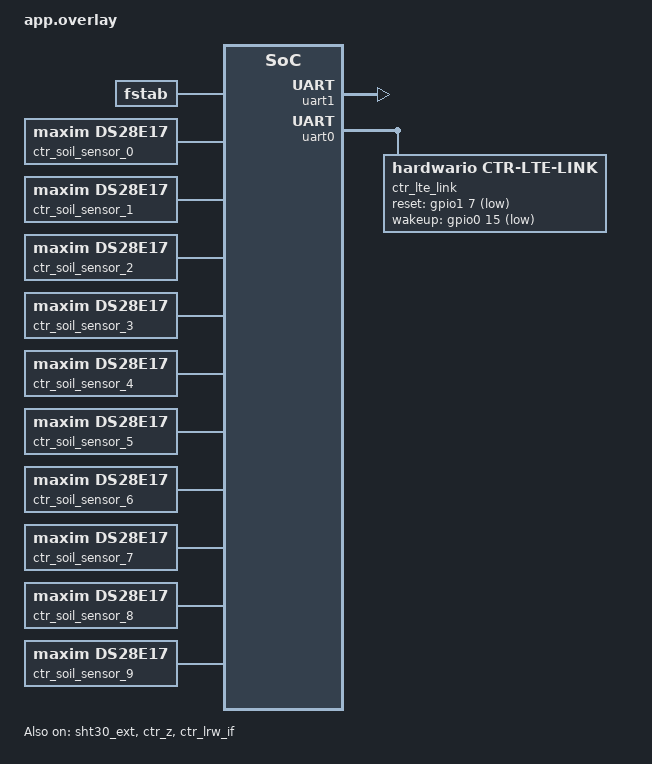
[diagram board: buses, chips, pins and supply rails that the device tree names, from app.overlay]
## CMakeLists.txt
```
#
# Copyright (c) 2024 HARDWARIO a.s.
#
# SPDX-License-Identifier: LicenseRef-HARDWARIO-5-Clause
#

cmake_minimum_required(VERSION 3.20.0)

set(ENV{FW_BUNDLE} "com.hardwario.chester.app.clime")
set(ENV{FW_NAME} "CHESTER Clime")

# Derive firmware version from git (see scripts/version.cmake); the fallback is
# used when git is unavailable at build time.
set(FW_VERSION_FALLBACK "v3.0.0")
include(${CMAKE_CURRENT_SOURCE_DIR}/../../scripts/version.cmake)

find_package(Zephyr REQUIRED HINTS $ENV{ZEPHYR_BASE})

project(chester-clime)

include(${ZEPHYR_CHESTER_MODULE_DIR}/scripts/app_codec.cmake)

target_sources(app PRIVATE src/app_cbor.c)
target_sources(app PRIVATE src/app_config.c)
target_sources(app PRIVATE src/app_data.c)
target_sources(app PRIVATE src/app_handler.c)
target_sources(app PRIVATE src/app_iaq.c)
target_sources(app PRIVATE src/app_init.c)
target_sources(app PRIVATE src/app_lrw.c)
target_sources(app PRIVATE src/app_send.c)
target_sources(app PRIVATE src/app_sensor.c)
target_sources(app PRIVATE src/app_shell.c)
target_sources(app PRIVATE src/app_tamper.c)
target_sources(app PRIVATE src/app_work.c)
target_sources(app PRIVATE src/main.c)

target_precompile_headers(app PRIVATE src/feature.h)

# ### Preserved code "cmake" (begin)
# ^^^ Preserved code "cmake" (end)
```

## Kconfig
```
#
# Copyright (c) 2024 HARDWARIO a.s.
#
# SPDX-License-Identifier: LicenseRef-HARDWARIO-5-Clause
#

menu "Application"

# CHESTER-APP-REPORT-JITTER
config APP_REPORT_JITTER
	bool "Add random time jitter to report transfers"
	default y
	select ENTROPY_GENERATOR
# HARDWARE-CHESTER-S2
config SHIELD_CTR_S2
	bool "Enable SHIELD_CTR_S2"
	default y

config CTR_HYGRO
	default y
# HARDWARE-CHESTER-Z
config SHIELD_CTR_Z
	bool "Enable SHIELD_CTR_Z"
	default y

config CTR_Z
	default y

config I2C
	default y
# SUBSYSTEM-DS18B20
config SHIELD_CTR_DS18B20
	bool "Enable SHIELD_CTR_DS18B20"
	default y

config CTR_DS18B20
	default y
# SUBSYSTEM-LRW
config SHIELD_CTR_LRW
	bool "Enable SHIELD_CTR_LRW"
	default y

config CTR_LRW
	default y
# SUBSYSTEM-LTE-V2
config SHIELD_CTR_LTE_V2
	bool "Enable SHIELD_CTR_LTE_V2"
	default y

config CTR_LTE_V2
	default y
# SUBSYSTEM-SOIL-SENSOR
config SHIELD_CTR_SOIL_SENSOR
	bool "Enable SHIELD_CTR_SOIL_SENSOR"
	default y

config CTR_SOIL_SENSOR
	default y

# ### Preserved code "k_config" (begin)
# ^^^ Preserved code "k_config" (end)

rsource "Kconfig.variant"

endmenu

menu "Zephyr Kernel"
source "Kconfig.zephyr"
endmenu
```

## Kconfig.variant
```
#
# Copyright (c) 2024 HARDWARIO a.s.
#
# SPDX-License-Identifier: LicenseRef-HARDWARIO-5-Clause
#

config VARIANT_CHESTER_CLIME
    bool "Enable VARIANT_CHESTER_CLIME"
    default y
        
```

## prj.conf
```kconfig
#
# Copyright (c) 2024 HARDWARIO a.s.
#
# SPDX-License-Identifier: LicenseRef-HARDWARIO-5-Clause
#

# Configurations
# SUBSYSTEM-ACCEL
CONFIG_CTR_ACCEL=y
# SUBSYSTEM-BATT
CONFIG_CTR_BATT=y
# SUBSYSTEM-BLE
CONFIG_CTR_BLE=y
# SUBSYSTEM-BLE-TAG
CONFIG_CTR_BLE_TAG=y
# SUBSYSTEM-BT-FILTER-ACCEPT-LIST
CONFIG_BT_FILTER_ACCEPT_LIST=y
# SUBSYSTEM-BT-OBSERVER
CONFIG_BT_OBSERVER=y
# SUBSYSTEM-BUF
CONFIG_CTR_BUF=y
# SUBSYSTEM-BUTTON
CONFIG_CTR_BUTTON=y
# SUBSYSTEM-CLOUD
CONFIG_CTR_CLOUD=y
CONFIG_SETTINGS_SHELL=y
CONFIG_IMG_MANAGER=y
CONFIG_BOOTLOADER_MCUBOOT=y
CONFIG_SPI=y
CONFIG_DFU_TARGET=y
CONFIG_DFU_TARGET_STREAM=y
CONFIG_DFU_TARGET_MCUBOOT=y
CONFIG_DFU_TARGET_LOG_LEVEL_DBG=y
CONFIG_STREAM_FLASH_ERASE=y
CONFIG_STREAM_FLASH=y
CONFIG_FILE_SYSTEM=y
CONFIG_FILE_SYSTEM_LITTLEFS=y
CONFIG_FILE_SYSTEM_MKFS=y
CONFIG_FILE_SYSTEM_SHELL=y
CONFIG_SETTINGS_FILE=y
CONFIG_SETTINGS_FILE_PATH="/lfs1/settings/run"
# SUBSYSTEM-CONFIG
CONFIG_CTR_CONFIG=y
# SUBSYSTEM-DEFAULTS
CONFIG_CTR_DEFAULTS=y
# SUBSYSTEM-DS18B20
CONFIG_CTR_DS18B20=y
# SUBSYSTEM-INFO
CONFIG_CTR_INFO=y
# SUBSYSTEM-LED
CONFIG_CTR_LED=y
# SUBSYSTEM-LOG
CONFIG_CTR_LOG=y
# SUBSYSTEM-LRW
CONFIG_CTR_LRW=y
# SUBSYSTEM-LTE-V2
CONFIG_CTR_LTE_V2=y
# SUBSYSTEM-POWER
CONFIG_CTR_POWER=y
# SUBSYSTEM-RTC
CONFIG_CTR_RTC=y
# SUBSYSTEM-SHELL
CONFIG_CTR_SHELL=y
# SUBSYSTEM-SOIL-SENSOR
CONFIG_CTR_SOIL_SENSOR=y
# SUBSYSTEM-THERM
CONFIG_CTR_THERM=y
# SUBSYSTEM-WDOG
CONFIG_CTR_WDOG=y
# SUBSYSTEM-ZCBOR
CONFIG_ZCBOR=y
CONFIG_ZCBOR_STOP_ON_ERROR=y
# Extra configurations
CONFIG_ADC_NRFX_SAADC=n
CONFIG_ADC_SHELL=n
CONFIG_CTR_CLOUD_TRANSFER_BUF_SIZE=10240
CONFIG_GPIO_SHELL=y
CONFIG_I2C_SHELL=y
CONFIG_ISR_TABLES_LOCAL_DECLARATION=y
CONFIG_LTO=y
CONFIG_MCUBOOT_SHELL=y
CONFIG_NEWLIB_LIBC_NANO=n

# ### Preserved code "config" (begin)
CONFIG_BUILD_OUTPUT_META=y
CONFIG_BUILD_OUTPUT_META_STATE_PROPAGATE=y
CONFIG_CTR_CLOUD_SPOOL=y
# ^^^ Preserved code "config" (end)
```

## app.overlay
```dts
/*
 * Copyright (c) 2024 HARDWARIO a.s.
 *
 * SPDX-License-Identifier: LicenseRef-HARDWARIO-5-Clause
 */

/* HARDWARE-CHESTER-S2  */
&sht30_ext {
	status = "okay";
};
/* HARDWARE-CHESTER-Z  */
&ctr_z {
	status = "okay";
};
/* SUBSYSTEM-CLOUD  */
/ {
	fstab {
		compatible = "zephyr,fstab";
		lfs1: lfs1 {
			compatible = "zephyr,fstab,littlefs";
			mount-point = "/lfs1";
			partition = <&littlefs_storage>;
			automount;
			read-size = <16>;
			prog-size = <16>;
			cache-size = <64>;
			lookahead-size = <32>;
			block-cycles = <512>;
		};
	};
};
/* SUBSYSTEM-DS18B20  */
&ds2484 {
	ds18b20_0: ds18b20_0 {
		compatible = "maxim,ds18b20";
		resolution = <12>;
		family-code = <0x28>;
	};

	ds18b20_1: ds18b20_1 {
		compatible = "maxim,ds18b20";
		resolution = <12>;
		family-code = <0x28>;
	};

	ds18b20_2: ds18b20_2 {
		compatible = "maxim,ds18b20";
		resolution = <12>;
		family-code = <0x28>;
	};

	ds18b20_3: ds18b20_3 {
		compatible = "maxim,ds18b20";
		resolution = <12>;
		family-code = <0x28>;
	};

	ds18b20_4: ds18b20_4 {
		compatible = "maxim,ds18b20";
		resolution = <12>;
		family-code = <0x28>;
	};

	ds18b20_5: ds18b20_5 {
		compatible = "maxim,ds18b20";
		resolution = <12>;
		family-code = <0x28>;
	};

	ds18b20_6: ds18b20_6 {
		compatible = "maxim,ds18b20";
		resolution = <12>;
		family-code = <0x28>;
	};

	ds18b20_7: ds18b20_7 {
		compatible = "maxim,ds18b20";
		resolution = <12>;
		family-code = <0x28>;
	};

	ds18b20_8: ds18b20_8 {
		compatible = "maxim,ds18b20";
		resolution = <12>;
		family-code = <0x28>;
	};

	ds18b20_9: ds18b20_9 {
		compatible = "maxim,ds18b20";
		resolution = <12>;
		family-code = <0x28>;
	};
};
/* SUBSYSTEM-LRW   */
&ctr_lrw_if {
	status = "okay";
};

&uart1 {
	status = "okay";
};
/* SUBSYSTEM-LTE-V2  */
/ {
	chosen {
		ctr,lte_link = &ctr_lte_link;
	};
};

&uart0 {
	status = "okay";

	ctr_lte_link: ctr_lte_link {
		compatible = "hardwario,ctr-lte-link";
		status = "okay";
		reset-gpios = <&gpio1 7 (GPIO_ACTIVE_LOW | GPIO_OPEN_DRAIN)>;
		wakeup-gpios = <&gpio0 15 (GPIO_ACTIVE_LOW | GPIO_OPEN_DRAIN)>;
	};
};

&uart0 {
	status = "okay";
};
/* SUBSYSTEM-SOIL-SENSOR  */
&ds2484 {
	ctr_soil_sensor_0: ctr_soil_sensor_0 {
		compatible = "maxim,ds28e17";
		family-code = <0x19>;
	};
	ctr_soil_sensor_1: ctr_soil_sensor_1 {
		compatible = "maxim,ds28e17";
		family-code = <0x19>;
	};
	ctr_soil_sensor_2: ctr_soil_sensor_2 {
		compatible = "maxim,ds28e17";
		family-code = <0x19>;
	};
	ctr_soil_sensor_3: ctr_soil_sensor_3 {
		compatible = "maxim,ds28e17";
		family-code = <0x19>;
	};
	ctr_soil_sensor_4: ctr_soil_sensor_4 {
		compatible = "maxim,ds28e17";
		family-code = <0x19>;
	};
	ctr_soil_sensor_5: ctr_soil_sensor_5 {
		compatible = "maxim,ds28e17";
		family-code = <0x19>;
	};
	ctr_soil_sensor_6: ctr_soil_sensor_6 {
		compatible = "maxim,ds28e17";
		family-code = <0x19>;
	};
	ctr_soil_sensor_7: ctr_soil_sensor_7 {
		compatible = "maxim,ds28e17";
		family-code = <0x19>;
	};
	ctr_soil_sensor_8: ctr_soil_sensor_8 {
		compatible = "maxim,ds28e17";
		family-code = <0x19>;
	};
	ctr_soil_sensor_9: ctr_soil_sensor_9 {
		compatible = "maxim,ds28e17";
		family-code = <0x19>;
	};
};

/* ### Preserved code "overlay" (begin) */
/* ^^^ Preserved code "overlay" (end) */
```

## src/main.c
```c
/*
 * Copyright (c) 2024 HARDWARIO a.s.
 *
 * SPDX-License-Identifier: LicenseRef-HARDWARIO-5-Clause
 */

#include "app_init.h"
#include "app_config.h"
#include "app_iaq.h"

/* CHESTER includes */
#include <chester/ctr_cloud.h>
#include <chester/ctr_led.h>
#include <chester/ctr_lte_v2.h>
#include <chester/ctr_rtc.h>
#include <chester/ctr_wdog.h>

/* Zephyr includes */
#include <zephyr/kernel.h>
#include <zephyr/logging/log.h>

/* Standard includes */
#include <stdbool.h>

LOG_MODULE_REGISTER(main, LOG_LEVEL_DBG);

extern struct ctr_wdog_channel g_app_wdog_channel;

static bool should_feed_watchdog(void);

int main(void)
{
	int ret;

	LOG_INF("Build time: " __DATE__ " " __TIME__);

	ret = app_init();
	if (ret) {
		LOG_ERR("Call `app_init` failed: %d", ret);
		k_oops();
	}

	for (;;) {
		k_sleep(K_SECONDS(5));
		LOG_INF("Alive");

#if defined(FEATURE_HARDWARE_CHESTER_S1)
		app_iaq_led_task();
#endif /* defined(FEATURE_HARDWARE_CHESTER_S1) */

		switch (g_app_config.mode) {
		case APP_CONFIG_MODE_NONE:
			/* Blink yellow when LTE/LRW mode not configured*/
			ctr_led_set(CTR_LED_CHANNEL_Y, true);
			k_sleep(K_MSEC(30));
			ctr_led_set(CTR_LED_CHANNEL_Y, false);
			break;

#if defined(FEATURE_SUBSYSTEM_LTE_V2)
		case APP_CONFIG_MODE_LTE:
			struct ctr_lte_v2_cereg_param cereg_param;
			ctr_lte_v2_get_cereg_param(&cereg_param);

			enum ctr_led_channel led_channel =
				(cereg_param.stat == CTR_LTE_V2_CEREG_PARAM_STAT_REGISTERED_HOME ||
				 cereg_param.stat == CTR_LTE_V2_CEREG_PARAM_STAT_REGISTERED_ROAMING)
					? CTR_LED_CHANNEL_G
					: CTR_LED_CHANNEL_R;

			ctr_led_set(led_channel, true);
			k_sleep(K_MSEC(30));
			ctr_led_set(led_channel, false);
			break;
#endif /* defined(FEATURE_SUBSYSTEM_LTE_V2) */

		default:
			ctr_led_set(CTR_LED_CHANNEL_G, true);
			k_sleep(K_MSEC(30));
			ctr_led_set(CTR_LED_CHANNEL_G, false);
			break;
		}

		if (should_feed_watchdog()) {
			LOG_DBG("WDG feed");

			ret = ctr_wdog_feed(&g_app_wdog_channel);
			if (ret) {
				LOG_ERR("Call `ctr_wdog_feed` failed: %d", ret);
				k_oops();
			}
		}
	}

	return 0;
}

static bool should_feed_watchdog(void)
{

#if defined(FEATURE_SUBSYSTEM_LTE_V2)
	int ret;

	if (g_app_config.mode == APP_CONFIG_MODE_LTE) {

		if (g_app_config.downlink_wdg_interval) {
			int64_t downlink_ts;
			ret = ctr_cloud_get_last_seen_ts(&downlink_ts);

			if (ret) {
				LOG_WRN("No downlink timestamp");
				return false;
			}

			int64_t current_ts;
			ret = ctr_rtc_get_ts(&current_ts);
			if (ret) {
				LOG_ERR("Call `ctr_rtc_get_ts` failed: %d", ret);
				return false;
			}

			int64_t diff_ts = current_ts - downlink_ts;
			if (diff_ts > g_app_config.downlink_wdg_interval) {
				LOG_WRN("Downlink ts bigger than interval! %lld", diff_ts);
				return false;
			}
		}
	}
#endif /* defined(FEATURE_SUBSYSTEM_LTE_V2) */

	return true;
}
```

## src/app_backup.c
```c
/*
 * Copyright (c) 2023 HARDWARIO a.s.
 *
 * SPDX-License-Identifier: LicenseRef-HARDWARIO-5-Clause
 */

#include "app_backup.h"
#include "app_config.h"
#include "app_data.h"
#include "app_work.h"

/* CHESTER includes */
#include <chester/ctr_rtc.h>
#include <chester/drivers/ctr_z.h>
#include <chester/drivers/ctr_x10.h>

/* Zephyr includes */
#include <zephyr/device.h>
#include <zephyr/devicetree.h>
#include <zephyr/kernel.h>
#include <zephyr/logging/log.h>
#include <zephyr/shell/shell.h>

/* Standard includes */
#include <errno.h>
#include <math.h>
#include <stdbool.h>

LOG_MODULE_REGISTER(app_backup, LOG_LEVEL_DBG);

#if defined(FEATURE_HARDWARE_CHESTER_Z)

static bool m_chester_z_available;

bool app_backup_z_is_available(void)
{
	return m_chester_z_available;
}

void handler_ctr_z(const struct device *dev, enum ctr_z_event backup_event, void *param)
{
	int ret;

	if (!m_chester_z_available) {
		return;
	}

	if (backup_event != CTR_Z_EVENT_DC_CONNECTED &&
	    backup_event != CTR_Z_EVENT_DC_DISCONNECTED) {
		return;
	}

	struct app_data_backup *backup = &g_app_data.backup;

	app_work_backup_update();

	app_data_lock();

	backup->line_present = backup_event == CTR_Z_EVENT_DC_CONNECTED;

	if (backup->event_count < APP_DATA_MAX_BACKUP_EVENTS) {
		struct app_data_backup_event *event = &backup->events[backup->event_count];

		ret = ctr_rtc_get_ts(&event->timestamp);
		if (ret) {
			LOG_ERR("Call `ctr_rtc_get_ts` failed: %d", ret);
			app_data_unlock();
			return;
		}

		event->connected = backup->line_present;
		backup->event_count++;

		LOG_INF("Event count: %d", backup->event_count);
	} else {
		LOG_WRN("Measurement full");
		app_data_unlock();
		return;
	}

	LOG_INF("Backup: %d", (int)backup->line_present);

	if (g_app_config.backup_report_connected && backup_event == CTR_Z_EVENT_DC_CONNECTED) {
		app_work_send_with_rate_limit();
	}

	if (g_app_config.backup_report_disconnected &&
	    backup_event == CTR_Z_EVENT_DC_DISCONNECTED) {
		app_work_send_with_rate_limit();
	}

	app_data_unlock();
}

int app_backup_init(void)
{
	int ret;

	static const struct device *dev = DEVICE_DT_GET(DT_NODELABEL(ctr_z));

	if (!device_is_ready(dev)) {
		LOG_INF("CHESTER-Z not detected");
		m_chester_z_available = false;
		return 0;
	}

	m_chester_z_available = true;
	LOG_INF("CHESTER-Z detected");

	ret = ctr_z_set_handler(dev, handler_ctr_z, NULL);
	if (ret) {
		LOG_WRN("Call `ctr_z_set_handler` failed: %d", ret);
	}

	ret = ctr_z_enable_interrupts(dev);
	if (ret) {
		LOG_WRN("Call `ctr_z_enable_interrupts` failed: %d", ret);
	}

	uint32_t serial_number;
	ret = ctr_z_get_serial_number(dev, &serial_number);
	if (!ret) {
		LOG_INF("Serial number: %08x", serial_number);
	}

	uint16_t hw_revision;
	ret = ctr_z_get_hw_revision(dev, &hw_revision);
	if (!ret) {
		LOG_INF("HW revision: %04x", hw_revision);
	}

	uint32_t hw_variant;
	ret = ctr_z_get_hw_variant(dev, &hw_variant);
	if (!ret) {
		LOG_INF("HW variant: %08x", hw_variant);
	}

	uint32_t fw_version;
	ret = ctr_z_get_fw_version(dev, &fw_version);
	if (!ret) {
		LOG_INF("FW version: %08x", fw_version);
	}

	char vendor_name[32];
	ret = ctr_z_get_vendor_name(dev, vendor_name, sizeof(vendor_name));
	if (!ret) {
		LOG_INF("Vendor name: %s", vendor_name);
	}

	char product_name[32];
	ret = ctr_z_get_product_name(dev, product_name, sizeof(product_name));
	if (!ret) {
		LOG_INF("Product name: %s", product_name);
	}

	return 0;
}

int app_backup_sample(void)
{
	int ret;

	if (!m_chester_z_available) {
		return 0;
	}

	static const struct device *dev = DEVICE_DT_GET(DT_NODELABEL(ctr_z));

	struct ctr_z_status status;
	ret = ctr_z_get_status(dev, &status);
	if (ret) {
		LOG_ERR("Call `ctr_z_get_status` failed: %d", ret);
		goto error;
	}

	LOG_INF("DC input connected: %d", status.dc_input_connected);

	uint16_t vdc;
	ret = ctr_z_get_vdc_mv(dev, &vdc);
	if (ret) {
		LOG_ERR("Call `ctr_z_get_vdc_mv` failed: %d", ret);
		goto error;
	}

	LOG_INF("Voltage DC input: %u mV", vdc);

	uint16_t vbat;
	ret = ctr_z_get_vbat_mv(dev, &vbat);
	if (ret) {
		LOG_ERR("Call `ctr_z_get_vbat_mv` failed: %d", ret);
		goto error;
	}

	LOG_INF("Voltage backup battery: %u mV", vbat);

	app_data_lock();
	g_app_data.backup.line_present = status.dc_input_connected;
	g_app_data.backup.line_voltage = vdc / 1000.f;
	g_app_data.backup.battery_voltage = vbat / 1000.f;
	app_data_unlock();

	return 0;

error:
	app_data_lock();
	g_app_data.backup.line_present = false;
	g_app_data.backup.line_voltage = NAN;
	g_app_data.backup.battery_voltage = NAN;
	app_data_unlock();

	return ret;
}

static int cmd_backup_status(const struct shell *shell, size_t argc, char **argv)
{
	if (!app_backup_z_is_available()) {
		shell_print(shell, "chester-z: not detected");
		return 0;
	}

	shell_print(shell, "chester-z: detected");

	static const struct device *dev = DEVICE_DT_GET(DT_NODELABEL(ctr_z));

	uint32_t serial_number;
	if (!ctr_z_get_serial_number(dev, &serial_number)) {
		shell_print(shell, "serial number: %08x", serial_number);
	}

	uint16_t hw_revision;
	if (!ctr_z_get_hw_revision(dev, &hw_revision)) {
		shell_print(shell, "hw revision: %04x", hw_revision);
	}

	uint32_t hw_variant;
	if (!ctr_z_get_hw_variant(dev, &hw_variant)) {
		shell_print(shell, "hw variant: %08x", hw_variant);
	}

	uint32_t fw_version;
	if (!ctr_z_get_fw_version(dev, &fw_version)) {
		shell_print(shell, "fw version: %08x", fw_version);
	}

	struct ctr_z_status status;
	if (!ctr_z_get_status(dev, &status)) {
		shell_print(shell, "dc input: %s",
			    status.dc_input_connected ? "connected" : "disconnected");
	}

	uint16_t vdc;
	if (!ctr_z_get_vdc_mv(dev, &vdc)) {
		shell_print(shell, "dc voltage: %u mV", vdc);
	}

	uint16_t vbat;
	if (!ctr_z_get_vbat_mv(dev, &vbat)) {
		shell_print(shell, "battery voltage: %u mV", vbat);
	}

	return 0;
}

SHELL_STATIC_SUBCMD_SET_CREATE(
	sub_backup,
	SHELL_CMD_ARG(status, NULL, "Show CHESTER-Z backup module status", cmd_backup_status, 1, 0),
	SHELL_SUBCMD_SET_END
);

SHELL_CMD_REGISTER(backup, &sub_backup, "Backup module commands", NULL);

#elif defined(FEATURE_HARDWARE_CHESTER_X10)

static void handler_ctr_x10(const struct device *dev, enum ctr_x10_event backup_event,
			    void *user_data)
{
	int ret;

	if (backup_event != CTR_X10_EVENT_LINE_CONNECTED &&
	    backup_event != CTR_X10_EVENT_LINE_DISCONNECTED) {
		return;
	}

	struct app_data_backup *backup = &g_app_data.backup;

	app_work_backup_update();

	app_data_lock();

	backup->line_present = backup_event == CTR_X10_EVENT_LINE_CONNECTED;

	if (backup->event_count < APP_DATA_MAX_BACKUP_EVENTS) {
		struct app_data_backup_event *event = &backup->events[backup->event_count];

		ret = ctr_rtc_get_ts(&event->timestamp);
		if (ret) {
			LOG_ERR("Call `ctr_rtc_get_ts` failed: %d", ret);
			app_data_unlock();
			return;
		}

		event->connected = backup->line_present;
		backup->event_count++;

		LOG_INF("Event count: %d", backup->event_count);
	} else {
		LOG_WRN("Measurement full");
		app_data_unlock();
		return;
	}

	LOG_INF("Backup: %d", (int)backup->line_present);

	if (g_app_config.backup_report_connected && backup_event == CTR_X10_EVENT_LINE_CONNECTED) {
		app_work_send_with_rate_limit();
	}

	if (g_app_config.backup_report_disconnected &&
	    backup_event == CTR_X10_EVENT_LINE_DISCONNECTED) {
		app_work_send_with_rate_limit();
	}

	app_data_unlock();
}

int app_backup_init(void)
{
	int ret;

	static const struct device *dev = DEVICE_DT_GET(DT_NODELABEL(ctr_x10));

	if (!device_is_ready(dev)) {
		LOG_ERR("Device not ready");
		return -ENODEV;
	}

	ret = ctr_x10_set_handler(dev, handler_ctr_x10, NULL);
	if (ret) {
		LOG_ERR("Call `ctr_z_set_handler` failed: %d", ret);
		return ret;
	}

	return 0;
}

int app_backup_sample(void)
{
	int ret;

	static const struct device *dev = DEVICE_DT_GET(DT_NODELABEL(ctr_x10));

	if (!device_is_ready(dev)) {
		LOG_ERR("Device not ready");
		ret = -ENODEV;
		goto error;
	}

	bool dc_input_connected;
	ret = ctr_x10_get_line_present(dev, &dc_input_connected);
	if (ret) {
		LOG_ERR("Call `ctr_x10_get_line_present` failed: %d", ret);
	} else {
		LOG_INF("Line present: %d", dc_input_connected);
	}

	int line_voltage_mv;
	ret = ctr_x10_get_line_voltage(dev, &line_voltage_mv);
	if (ret) {
		LOG_ERR("Call `ctr_x10_get_line_voltage` failed: %d", ret);
		goto error;
	} else {
		LOG_INF("Line voltage: %d mv", line_voltage_mv);
	}

	int battery_voltage_mv;
	ret = ctr_x10_get_battery_voltage(dev, &battery_voltage_mv);
	if (ret) {
		LOG_ERR("Call `ctr_x10_get_battery_voltage` failed: %d", ret);
		goto error;
	} else {
		LOG_INF("Battery voltage: %d mv", battery_voltage_mv);
	}

	app_data_lock();
	g_app_data.backup.line_present = dc_input_connected;
	g_app_data.backup.line_voltage = line_voltage_mv / 1000.f;
	g_app_data.backup.battery_voltage = battery_voltage_mv / 1000.f;
	app_data_unlock();

	return 0;

error:
	app_data_lock();
	g_app_data.backup.line_present = false;
	g_app_data.backup.line_voltage = NAN;
	g_app_data.backup.battery_voltage = NAN;
	app_data_unlock();

	return ret;
}

#endif /* defined(FEATURE_HARDWARE_CHESTER_X10) */

#if defined(FEATURE_HARDWARE_CHESTER_Z) || defined(FEATURE_HARDWARE_CHESTER_X10)

int app_backup_clear(void)
{
	app_data_lock();
	g_app_data.backup.event_count = 0;
	app_data_unlock();

	return 0;
}

#endif /* defined(FEATURE_HARDWARE_CHESTER_Z) || defined(FEATURE_HARDWARE_CHESTER_X10) */
```

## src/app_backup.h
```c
/*
 * Copyright (c) 2023 HARDWARIO a.s.
 *
 * SPDX-License-Identifier: LicenseRef-HARDWARIO-5-Clause
 */

#ifndef APP_BACKUP_H_
#define APP_BACKUP_H_

#include <stdbool.h>

#ifdef __cplusplus
extern "C" {
#endif

int app_backup_init(void);
int app_backup_sample(void);
int app_backup_clear(void);

#if defined(FEATURE_HARDWARE_CHESTER_Z)
bool app_backup_z_is_available(void);
#endif

#ifdef __cplusplus
}
#endif

#endif /* APP_BACKUP_H_ */
```

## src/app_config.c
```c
/*
 * Copyright (c) 2024 HARDWARIO a.s.
 *
 * SPDX-License-Identifier: LicenseRef-HARDWARIO-5-Clause
 */

#include "app_config.h"

/* CHESTER includes */
#include <chester/ctr_config.h>

/* Zephyr includes */
#include <zephyr/init.h>
#include <zephyr/kernel.h>
#include <zephyr/logging/log.h>
#include <zephyr/settings/settings.h>
#include <zephyr/shell/shell.h>

/* Standard includes */
#include <stdbool.h>
#include <stdio.h>
#include <stdlib.h>
#include <string.h>

/* ### Preserved code "includes" (begin) */
/* ^^^ Preserved code "includes" (end) */

LOG_MODULE_REGISTER(app_config, LOG_LEVEL_DBG);

#define SETTINGS_PFX "app-clime"

struct app_config g_app_config;

static struct app_config m_config_interim;

/* clang-format off */
const struct ctr_config_item items[] = {
	CTR_CONFIG_ITEM_INT("interval-sample", m_config_interim.interval_sample, 1, 86400, "Get/Set sample interval in seconds.", 60),
	CTR_CONFIG_ITEM_INT("interval-aggreg", m_config_interim.interval_aggreg, 1, 86400, "Get/Set aggregate interval in seconds .", 300),
	CTR_CONFIG_ITEM_INT("interval-report", m_config_interim.interval_report, 30, 86400, "Get/Set report interval in seconds.", 1800),
	CTR_CONFIG_ITEM_INT("interval-poll", m_config_interim.interval_poll, 0, 86400, "Get/Set poll interval in seconds (disabled if 0).", 0),
	CTR_CONFIG_ITEM_INT("downlink-wdg-interval", m_config_interim.downlink_wdg_interval, 0, 1209600, "Get/Set downlink watchdog interval in seconds (disabled if 0).", 129600),
	CTR_CONFIG_ITEM_INT("send-timeout", m_config_interim.send_timeout, 1, 3600, "Get/Set send timeout in seconds.", 120),

#if defined(FEATURE_HARDWARE_CHESTER_S1)
	CTR_CONFIG_ITEM_FLOAT("iaq-led-thr-warning", m_config_interim.iaq_led_thr_warning, -40.0f, 5000.0f, "Get/Set IAQ LED warning threshold.", 800.0f),
	CTR_CONFIG_ITEM_FLOAT("iaq-led-thr-alarm", m_config_interim.iaq_led_thr_alarm, -40.0f, 5000.0f, "Get/Set IAQ LED hysteresis.", 1600.0f),
	CTR_CONFIG_ITEM_FLOAT("iaq-led-hst", m_config_interim.iaq_led_hst, -40.0f, 125.0f, "Get/Set hygro high temperature alarm threshold.", 50.0f),
#endif /* defined(FEATURE_HARDWARE_CHESTER_S1) */

#if defined(FEATURE_HARDWARE_CHESTER_S2) || defined(FEATURE_SUBSYSTEM_POWER) || defined(FEATURE_CHESTER_APP_TAMPER)
	CTR_CONFIG_ITEM_INT("event-report-delay", m_config_interim.event_report_delay, 1, 86400, "Get/Set event report delay in seconds.", 1),
	CTR_CONFIG_ITEM_INT("event-report-rate", m_config_interim.event_report_rate, 1, 3600, "Get/Set event report rate in reports per hour.", 30),
#endif /* defined(FEATURE_HARDWARE_CHESTER_S2) || defined(FEATURE_SUBSYSTEM_POWER) || defined(FEATURE_CHESTER_APP_TAMPER) */

#if defined(FEATURE_HARDWARE_CHESTER_S2)
	CTR_CONFIG_ITEM_BOOL("hygro-t-alarm-hi-report", m_config_interim.hygro_t_alarm_hi_report, "Get/Set report when hygro high temperature alarm is crossed.", false),
	CTR_CONFIG_ITEM_BOOL("hygro-t-alarm-lo-report", m_config_interim.hygro_t_alarm_lo_report, "Get/Set report when hygro low temperature alarm is crossed.", false),
	CTR_CONFIG_ITEM_FLOAT("hygro-t-alarm-hi-thr", m_config_interim.hygro_t_alarm_hi_thr, -40.0f, 125.0f, "Get/Set hygro high temperature alarm threshold.", 0.0f),
	CTR_CONFIG_ITEM_FLOAT("hygro-t-alarm-hi-hst", m_config_interim.hygro_t_alarm_hi_hst, 0.0f, 100.0f, "Get/Set hygro high temperature alarm hysteresis.", 0.0f),
	CTR_CONFIG_ITEM_FLOAT("hygro-t-alarm-lo-thr", m_config_interim.hygro_t_alarm_lo_thr, -40.0f, 125.0f, "Get/Set hygro low temperature alarm threshold.", 0.0f),
	CTR_CONFIG_ITEM_FLOAT("hygro-t-alarm-lo-hst", m_config_interim.hygro_t_alarm_lo_hst, 0.0f, 100.0f, "Get/Set hygro low temperature alarm hysteresis.", 0.0f),
#endif /* defined(FEATURE_HARDWARE_CHESTER_S2) */

	CTR_CONFIG_ITEM_ENUM("mode", m_config_interim.mode, ((const char*[]){"none", "lte", "lrw"}), "Set communication mode", APP_CONFIG_MODE_NONE),

	/* ### Preserved code "config" (begin) */
	/* ^^^ Preserved code "config" (end) */

};
/* clang-format on */

/* ### Preserved code "function" (begin) */
/* ^^^ Preserved code "function" (end) */

int app_config_cmd_config_show(const struct shell *shell, size_t argc, char **argv)
{
	/* ### Preserved code "app_config_cmd_config_show start" (begin) */
	/* ^^^ Preserved code "app_config_cmd_config_show start" (end) */

	for (int i = 0; i < ARRAY_SIZE(items); i++) {
		ctr_config_show_item(shell, &items[i]);
	}

	/* ### Preserved code "app_config_cmd_config_show end" (begin) */
	/* ^^^ Preserved code "app_config_cmd_config_show end" (end) */

	return 0;
}

int app_config_cmd_config(const struct shell *shell, size_t argc, char **argv)
{
	/* ### Preserved code "app_config_cmd_config" (begin) */
	/* ^^^ Preserved code "app_config_cmd_config" (end) */
	return ctr_config_cmd_config(items, ARRAY_SIZE(items), shell, argc, argv);
}

static int h_set(const char *key, size_t len, settings_read_cb read_cb, void *cb_arg)
{
	/* ### Preserved code "h_set" (begin) */
	/* ^^^ Preserved code "h_set" (end) */

	return ctr_config_h_set(items, ARRAY_SIZE(items), key, len, read_cb, cb_arg);
}

static int h_commit(void)
{
	LOG_DBG("Loaded settings in full");

	/* ### Preserved code "h_commit" (begin) */
	/* ^^^ Preserved code "h_commit" (end) */

	memcpy(&g_app_config, &m_config_interim, sizeof(g_app_config));
	return 0;
}

static int h_export(int (*export_func)(const char *name, const void *val, size_t val_len))
{
	/* ### Preserved code "h_export" (begin) */
	/* ^^^ Preserved code "h_export" (end) */

	return ctr_config_h_export(items, ARRAY_SIZE(items), export_func);
}

static int init(void)
{
	int ret;

	LOG_INF("System initialization");

	for (int i = 0; i < ARRAY_SIZE(items); i++) {
		ctr_config_init_item(&items[i]);
	}

	static struct settings_handler sh = {
		.name = SETTINGS_PFX,
		.h_set = h_set,
		.h_commit = h_commit,
		.h_export = h_export,
	};

	ret = settings_register(&sh);
	if (ret) {
		LOG_ERR("Call `settings_register` failed: %d", ret);
		return ret;
	}

	ret = settings_load_subtree(SETTINGS_PFX);
	if (ret) {
		LOG_ERR("Call `settings_load_subtree` failed: %d", ret);
		return ret;
	}

	/* ### Preserved code "init" (begin) */
	/* ^^^ Preserved code "init" (end) */

	ctr_config_append_show(SETTINGS_PFX, app_config_cmd_config_show);

	return 0;
}

SYS_INIT(init, APPLICATION, CONFIG_APPLICATION_INIT_PRIORITY);
```

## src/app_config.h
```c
/*
 * Copyright (c) 2024 HARDWARIO a.s.
 *
 * SPDX-License-Identifier: LicenseRef-HARDWARIO-5-Clause
 */

#ifndef APP_CONFIG_H_
#define APP_CONFIG_H_

/* Zephyr includes */
#include <zephyr/shell/shell.h>

/* Standard includes */
#include <stdbool.h>
#include <stddef.h>

/* ### Preserved code "includes" (begin) */
/* ^^^ Preserved code "includes" (end) */

#ifdef __cplusplus
extern "C" {
#endif

enum app_config_mode {
	APP_CONFIG_MODE_NONE = 0,
	APP_CONFIG_MODE_LTE = 1,
	APP_CONFIG_MODE_LRW = 2,
};

struct app_config {
	int interval_sample;
	int interval_aggreg;
	int interval_report;
	int interval_poll;
	int downlink_wdg_interval;
	int send_timeout;

#if defined(FEATURE_HARDWARE_CHESTER_S1)
	float iaq_led_thr_warning;
	float iaq_led_thr_alarm;
	float iaq_led_hst;
#endif /* defined(FEATURE_HARDWARE_CHESTER_S1) */

#if defined(FEATURE_HARDWARE_CHESTER_S2) || defined(FEATURE_SUBSYSTEM_POWER) ||                    \
	defined(FEATURE_CHESTER_APP_TAMPER)
	int event_report_delay;
	int event_report_rate;
#endif /* defined(FEATURE_HARDWARE_CHESTER_S2) || defined(FEATURE_SUBSYSTEM_POWER) ||              \
	  defined(FEATURE_CHESTER_APP_TAMPER) */

#if defined(FEATURE_HARDWARE_CHESTER_S2)
	bool hygro_t_alarm_hi_report;
	bool hygro_t_alarm_lo_report;
	float hygro_t_alarm_hi_thr;
	float hygro_t_alarm_hi_hst;
	float hygro_t_alarm_lo_thr;
	float hygro_t_alarm_lo_hst;
#endif /* defined(FEATURE_HARDWARE_CHESTER_S2) */

	enum app_config_mode mode;

	/* ### Preserved code "struct variables" (begin) */
	/* ^^^ Preserved code "struct variables" (end) */
};

extern struct app_config g_app_config;

int app_config_cmd_config_show(const struct shell *shell, size_t argc, char **argv);
int app_config_cmd_config_mode(const struct shell *shell, size_t argc, char **argv);

int app_config_cmd_config(const struct shell *shell, size_t argc, char **argv);

/* ### Preserved code "functions" (begin) */
/* ^^^ Preserved code "functions" (end) */

#ifdef __cplusplus
}
#endif

#endif /* APP_CONFIG_H_ */
```

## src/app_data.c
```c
/*
 * Copyright (c) 2023 HARDWARIO a.s.
 *
 * SPDX-License-Identifier: LicenseRef-HARDWARIO-5-Clause
 */

#include "app_data.h"

/* CHESTER includes */
#include <chester/ctr_lte.h>

/* Zephyr includes */
#include <zephyr/kernel.h>

/* Standard includes */
#include <limits.h>
#include <math.h>
#include <stdbool.h>

/*
 * Keep `g_app_data` zero-initialized so it is placed in `.bss` (RAM only).
 * Non-zero initializers (NAN, INT_MAX) would move the whole structure to
 * `.data`, which occupies the same amount of FLASH and is copied on boot.
 * Non-zero defaults are set at runtime in `app_data_init()` instead.
 */
struct app_data g_app_data;

static K_MUTEX_DEFINE(m_lock);

int app_data_init(void)
{
	app_data_lock();

	g_app_data.accel_acceleration_x = NAN;
	g_app_data.accel_acceleration_y = NAN;
	g_app_data.accel_acceleration_z = NAN;
	g_app_data.accel_orientation = INT_MAX;
	g_app_data.therm_temperature = NAN;

#if defined(FEATURE_HARDWARE_CHESTER_S2)
	g_app_data.hygro.last_sample_temperature = NAN;
	g_app_data.hygro.last_sample_humidity = NAN;
#endif /* defined(FEATURE_HARDWARE_CHESTER_S2) */

#if defined(FEATURE_SUBSYSTEM_DS18B20)
	for (int i = 0; i < APP_DATA_W1_THERM_COUNT; i++) {
		g_app_data.w1_therm.sensor[i].last_sample_temperature = NAN;
	}
#endif /* defined(FEATURE_SUBSYSTEM_DS18B20) */

#if defined(FEATURE_HARDWARE_CHESTER_RTD_A) || defined(FEATURE_HARDWARE_CHESTER_RTD_B)
	for (int i = 0; i < APP_DATA_RTD_THERM_COUNT; i++) {
		g_app_data.rtd_therm.sensor[i].last_sample_temperature = NAN;
	}
#endif /* defined(FEATURE_HARDWARE_CHESTER_RTD_A) || defined(FEATURE_HARDWARE_CHESTER_RTD_B) */

#if defined(FEATURE_HARDWARE_CHESTER_TC_A) || defined(FEATURE_HARDWARE_CHESTER_TC_B)
	for (int i = 0; i < APP_DATA_TC_THERM_COUNT; i++) {
		g_app_data.tc_therm.sensor[i].last_sample_temperature = NAN;
	}
#endif /* defined(FEATURE_HARDWARE_CHESTER_TC_A) || defined(FEATURE_HARDWARE_CHESTER_TC_B) */

#if defined(FEATURE_HARDWARE_CHESTER_SPS30)
	g_app_data.sps30.last_sample_mass_conc_pm_1_0 = NAN;
	g_app_data.sps30.last_sample_mass_conc_pm_2_5 = NAN;
	g_app_data.sps30.last_sample_mass_conc_pm_4_0 = NAN;
	g_app_data.sps30.last_sample_mass_conc_pm_10_0 = NAN;
	g_app_data.sps30.last_sample_num_conc_pm_0_5 = NAN;
	g_app_data.sps30.last_sample_num_conc_pm_1_0 = NAN;
	g_app_data.sps30.last_sample_num_conc_pm_2_5 = NAN;
	g_app_data.sps30.last_sample_num_conc_pm_4_0 = NAN;
	g_app_data.sps30.last_sample_num_conc_pm_10_0 = NAN;
#endif /* defined(FEATURE_HARDWARE_CHESTER_SPS30) */

#if defined(FEATURE_SUBSYSTEM_BLE_TAG)
	for (int i = 0; i < CTR_BLE_TAG_COUNT; i++) {
		g_app_data.ble_tag.sensor[i].last_sample_temperature = NAN;
		g_app_data.ble_tag.sensor[i].last_sample_humidity = NAN;
	}
#endif /* defined(FEATURE_SUBSYSTEM_BLE_TAG) */

#if defined(FEATURE_SUBSYSTEM_SOIL_SENSOR)
	for (int i = 0; i < APP_DATA_SOIL_SENSOR_COUNT; i++) {
		g_app_data.soil_sensor.sensor[i].last_temperature = NAN;
		g_app_data.soil_sensor.sensor[i].last_moisture = NAN;
	}
#endif /* defined(FEATURE_SUBSYSTEM_SOIL_SENSOR) */

	app_data_unlock();

	return 0;
}

void app_data_lock(void)
{
	k_mutex_lock(&m_lock, K_FOREVER);
}

void app_data_unlock(void)
{
	k_mutex_unlock(&m_lock);
}
```

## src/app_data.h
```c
/*
 * Copyright (c) 2023 HARDWARIO a.s.
 *
 * SPDX-License-Identifier: LicenseRef-HARDWARIO-5-Clause
 */

#ifndef APP_DATA_H_
#define APP_DATA_H_

/* CHESTER includes */
#include <chester/ctr_ble_tag.h>
#include <chester/ctr_lte.h>
#include <chester/application/ctr_data.h>

/* Standard includes */
#include <stdbool.h>
#include <stdint.h>

/* TODO Delete */
#include <zephyr/kernel.h>

#define APP_DATA_MAX_MEASUREMENTS  32
#define APP_DATA_MAX_SAMPLES       32
#define APP_DATA_MAX_TAMPER_EVENTS 32
#define APP_DATA_MAX_HYGRO_EVENTS  32

#if defined(FEATURE_SUBSYSTEM_BLE_TAG)
#define APP_DATA_MAX_BLE_TAG_MEASUREMENTS 16
#define APP_DATA_MAX_BLE_TAG_SAMPLES      16
#endif /* defined(FEATURE_SUBSYSTEM_BLE_TAG) */

#if defined(FEATURE_SUBSYSTEM_DS18B20)
#define APP_DATA_W1_THERM_COUNT       10
#define APP_DATA_W1_THERM_MAX_SAMPLES 128
#endif /* defined(FEATURE_SUBSYSTEM_DS18B20) */

#if (defined(FEATURE_HARDWARE_CHESTER_RTD_A) && !defined(FEATURE_HARDWARE_CHESTER_RTD_B)) ||       \
	(!defined(FEATURE_HARDWARE_CHESTER_RTD_A) && defined(FEATURE_HARDWARE_CHESTER_RTD_B))
#define APP_DATA_RTD_THERM_COUNT 2
#elif defined(FEATURE_HARDWARE_CHESTER_RTD_A) && defined(FEATURE_HARDWARE_CHESTER_RTD_B)
#define APP_DATA_RTD_THERM_COUNT 4
#endif

#if (defined(FEATURE_HARDWARE_CHESTER_TC_A) && !defined(FEATURE_HARDWARE_CHESTER_TC_B)) ||         \
	(!defined(FEATURE_HARDWARE_CHESTER_TC_A) && defined(FEATURE_HARDWARE_CHESTER_TC_B))
#define APP_DATA_TC_THERM_COUNT 2
#elif defined(FEATURE_HARDWARE_CHESTER_TC_A) && defined(FEATURE_HARDWARE_CHESTER_TC_B)
#define APP_DATA_TC_THERM_COUNT 4
#endif

#define APP_DATA_SOIL_SENSOR_COUNT 10

#ifdef __cplusplus
extern "C" {
#endif

#if defined(FEATURE_CHESTER_APP_TAMPER)
struct app_data_tamper_event {
	int64_t timestamp;
	bool activated;
};

struct app_data_tamper {
	bool activated;
	int event_count;
	struct app_data_tamper_event events[APP_DATA_MAX_TAMPER_EVENTS];
};
#endif /* defined(FEATURE_CHESTER_APP_TAMPER) */

#if defined(FEATURE_HARDWARE_CHESTER_S1)
struct app_data_iaq_sensors_measurement {
	struct ctr_data_aggreg temperature;
	struct ctr_data_aggreg humidity;
	struct ctr_data_aggreg illuminance;
	struct ctr_data_aggreg altitude;
	struct ctr_data_aggreg pressure;
	struct ctr_data_aggreg co2_conc;

	int motion_count;
};

struct app_data_iaq_button_measurement {
	int press_count;
};

struct app_data_iaq_sensors {
	atomic_t motion_count;
	float last_co2_conc;
	float last_temperature;
	float last_humidity;
	float last_illuminance;
	float last_altitude;
	float last_pressure;

	int sample_count;
	float samples_temperature[APP_DATA_MAX_SAMPLES];
	float samples_humidity[APP_DATA_MAX_SAMPLES];
	float samples_illuminance[APP_DATA_MAX_SAMPLES];
	float samples_altitude[APP_DATA_MAX_SAMPLES];
	float samples_pressure[APP_DATA_MAX_SAMPLES];
	float samples_co2_conc[APP_DATA_MAX_SAMPLES];

	int measurement_count;
	struct app_data_iaq_sensors_measurement measurements[APP_DATA_MAX_MEASUREMENTS];

	int64_t timestamp;
};

struct app_data_iaq_button {
	atomic_t press_count;

	int measurement_count;
	struct app_data_iaq_button_measurement measurements[APP_DATA_MAX_MEASUREMENTS];

	int64_t timestamp;
};

struct app_data_iaq {
	struct app_data_iaq_sensors sensors;
	struct app_data_iaq_button button;
};

#endif /* defined(FEATURE_HARDWARE_CHESTER_S1) */

#if defined(FEATURE_HARDWARE_CHESTER_S2)

enum app_data_hygro_event_type {
	APP_DATA_HYGRO_EVENT_TYPE_ALARM_HI_ACTIVATED,
	APP_DATA_HYGRO_EVENT_TYPE_ALARM_HI_DEACTIVATED,
	APP_DATA_HYGRO_EVENT_TYPE_ALARM_LO_ACTIVATED,
	APP_DATA_HYGRO_EVENT_TYPE_ALARM_LO_DEACTIVATED,
};

struct app_data_hygro_event {
	int64_t timestamp;
	enum app_data_hygro_event_type type;
	float value;
};

struct app_data_hygro_measurement {
	struct ctr_data_aggreg temperature;
	struct ctr_data_aggreg humidity;
};

struct app_data_hygro {
	float last_sample_temperature;
	float last_sample_humidity;

	int event_count;
	struct app_data_hygro_event events[APP_DATA_MAX_HYGRO_EVENTS];

	bool alarm_hi_active;
	bool alarm_lo_active;

	int sample_count;
	float samples_temperature[APP_DATA_MAX_SAMPLES];
	float samples_humidity[APP_DATA_MAX_SAMPLES];

	int measurement_count;
	struct app_data_hygro_measurement measurements[APP_DATA_MAX_MEASUREMENTS];

	int64_t timestamp;
};
#endif /* defined(FEATURE_HARDWARE_CHESTER_S2) */

#if defined(FEATURE_SUBSYSTEM_DS18B20)
struct app_data_w1_therm_measurement {
	struct ctr_data_aggreg temperature;
};

struct app_data_w1_therm_sensor {
	uint64_t serial_number;

	float last_sample_temperature;

	int sample_count;
	float samples_temperature[APP_DATA_MAX_SAMPLES];

	int measurement_count;
	struct app_data_w1_therm_measurement measurements[APP_DATA_MAX_MEASUREMENTS];
};

struct app_data_w1_therm {
	struct app_data_w1_therm_sensor sensor[APP_DATA_W1_THERM_COUNT];

	int64_t timestamp;
	atomic_t sample;
	atomic_t aggreg;
};
#endif /* defined(FEATURE_SUBSYSTEM_DS18B20) */

#if defined(FEATURE_HARDWARE_CHESTER_RTD_A) || defined(FEATURE_HARDWARE_CHESTER_RTD_B)
struct app_data_rtd_therm_measurement {
	struct ctr_data_aggreg temperature;
};

struct app_data_rtd_therm_sensor {
	float last_sample_temperature;

	int sample_count;
	float samples_temperature[APP_DATA_MAX_SAMPLES];

	int measurement_count;
	struct app_data_rtd_therm_measurement measurements[APP_DATA_MAX_MEASUREMENTS];
};

struct app_data_rtd_therm {
	struct app_data_rtd_therm_sensor sensor[APP_DATA_RTD_THERM_COUNT];

	int64_t timestamp;
};
#endif /* defined(FEATURE_HARDWARE_CHESTER_RTD_A) || defined(FEATURE_HARDWARE_CHESTER_RTD_B) */

#if defined(FEATURE_HARDWARE_CHESTER_TC_A) || defined(FEATURE_HARDWARE_CHESTER_TC_B)
struct app_data_tc_therm_measurement {
	struct ctr_data_aggreg temperature;
};

struct app_data_tc_therm_sensor {
	float last_sample_temperature;

	int sample_count;
	float samples_temperature[APP_DATA_MAX_SAMPLES];

	int measurement_count;
	struct app_data_tc_therm_measurement measurements[APP_DATA_MAX_MEASUREMENTS];
};

struct app_data_tc_therm {
	struct app_data_tc_therm_sensor sensor[APP_DATA_TC_THERM_COUNT];

	int64_t timestamp;
};
#endif /* defined(FEATURE_HARDWARE_CHESTER_TC_A) || defined(FEATURE_HARDWARE_CHESTER_TC_B) */

#if defined(FEATURE_SUBSYSTEM_SOIL_SENSOR)

struct app_data_soil_sensor_measurement {
	struct ctr_data_aggreg temperature;
	struct ctr_data_aggreg moisture;
};

struct app_data_soil_sensor_sensor {
	uint64_t serial_number;

	int sample_count;
	float samples_temperature[APP_DATA_MAX_SAMPLES];
	float samples_moisture[APP_DATA_MAX_SAMPLES];
	float last_temperature;
	float last_moisture;

	int measurement_count;
	struct app_data_soil_sensor_measurement measurements[APP_DATA_MAX_MEASUREMENTS];
};

struct app_data_soil_sensor {
	struct app_data_soil_sensor_sensor sensor[APP_DATA_SOIL_SENSOR_COUNT];
	int64_t timestamp;
};

#endif /* defined(FEATURE_SUBSYSTEM_SOIL_SENSOR) */

#if defined(FEATURE_HARDWARE_CHESTER_SPS30)

struct app_data_sps30_measurement {
	struct ctr_data_aggreg mass_conc_pm_1_0;
	struct ctr_data_aggreg mass_conc_pm_2_5;
	struct ctr_data_aggreg mass_conc_pm_4_0;
	struct ctr_data_aggreg mass_conc_pm_10_0;

	struct ctr_data_aggreg num_conc_pm_0_5;
	struct ctr_data_aggreg num_conc_pm_1_0;
	struct ctr_data_aggreg num_conc_pm_2_5;
	struct ctr_data_aggreg num_conc_pm_4_0;
	struct ctr_data_aggreg num_conc_pm_10_0;
};

struct app_data_sps30 {
	struct ctr_data_aggreg temperature;
	struct ctr_data_aggreg humidity;

	float last_sample_mass_conc_pm_1_0;
	float last_sample_mass_conc_pm_2_5;
	float last_sample_mass_conc_pm_4_0;
	float last_sample_mass_conc_pm_10_0;

	float last_sample_num_conc_pm_0_5;
	float last_sample_num_conc_pm_1_0;
	float last_sample_num_conc_pm_2_5;
	float last_sample_num_conc_pm_4_0;
	float last_sample_num_conc_pm_10_0;

	int sample_count;
	float samples_mass_conc_pm_1_0[APP_DATA_MAX_SAMPLES];
	float samples_mass_conc_pm_2_5[APP_DATA_MAX_SAMPLES];
	float samples_mass_conc_pm_4_0[APP_DATA_MAX_SAMPLES];
	float samples_mass_conc_pm_10_0[APP_DATA_MAX_SAMPLES];

	float samples_num_conc_pm_0_5[APP_DATA_MAX_SAMPLES];
	float samples_num_conc_pm_1_0[APP_DATA_MAX_SAMPLES];
	float samples_num_conc_pm_2_5[APP_DATA_MAX_SAMPLES];
	float samples_num_conc_pm_4_0[APP_DATA_MAX_SAMPLES];
	float samples_num_conc_pm_10_0[APP_DATA_MAX_SAMPLES];

	int measurement_count;
	struct app_data_sps30_measurement measurements[APP_DATA_MAX_MEASUREMENTS];

	int64_t timestamp;
};

#endif /* defined(FEATURE_HARDWARE_CHESTER_SPS30) */

#if defined(FEATURE_SUBSYSTEM_BLE_TAG)

struct app_data_ble_tag_measurement {
	struct ctr_data_aggreg temperature;
	struct ctr_data_aggreg humidity;
};

struct app_data_ble_tag_sensor {
	uint8_t addr[BT_ADDR_SIZE];

	int8_t rssi;
	float voltage;

	float last_sample_temperature;
	float last_sample_humidity;

	int sample_count;
	float samples_temperature[APP_DATA_MAX_BLE_TAG_SAMPLES];
	float samples_humidity[APP_DATA_MAX_BLE_TAG_SAMPLES];

	int measurement_count;
	struct app_data_ble_tag_measurement measurements[APP_DATA_MAX_BLE_TAG_MEASUREMENTS];
};

struct app_data_ble_tag {
	struct app_data_ble_tag_sensor sensor[CTR_BLE_TAG_COUNT];

	int64_t timestamp;
	atomic_t sample;
	atomic_t aggreg;
};

#endif /* defined(FEATURE_SUBSYSTEM_BLE_TAG) */

#if defined(FEATURE_SUBSYSTEM_RADON)
struct app_data_radon {
	int sample_count;
	float temp_samples[APP_DATA_MAX_SAMPLES];
	float hum_samples[APP_DATA_MAX_SAMPLES];

	int measurement_count;
	struct ctr_data_aggreg temp_measurements[APP_DATA_MAX_MEASUREMENTS];
	struct ctr_data_aggreg hum_measurements[APP_DATA_MAX_MEASUREMENTS];
	uint32_t concentration_measurements[APP_DATA_MAX_MEASUREMENTS];
	uint32_t daily_concentration_measurements[APP_DATA_MAX_MEASUREMENTS];

	int64_t timestamp;
};
#endif /* defined(FEATURE_SUBSYSTEM_RADON) */

struct app_data {
	float therm_temperature;
	float accel_acceleration_x;
	float accel_acceleration_y;
	float accel_acceleration_z;
	int accel_orientation;

#if defined(FEATURE_CHESTER_APP_TAMPER)
	struct app_data_tamper tamper;
#endif /* defined(FEATURE_CHESTER_APP_TAMPER) */

#if defined(FEATURE_HARDWARE_CHESTER_S1)
	struct app_data_iaq iaq;
#endif /* defined(FEATURE_HARDWARE_CHESTER_S1) */

#if defined(FEATURE_HARDWARE_CHESTER_S2)
	struct app_data_hygro hygro;
#endif /* defined(FEATURE_HARDWARE_CHESTER_S2) */

#if defined(FEATURE_SUBSYSTEM_DS18B20)
	struct app_data_w1_therm w1_therm;
#endif /* defined(FEATURE_SUBSYSTEM_DS18B20) */

#if defined(FEATURE_HARDWARE_CHESTER_RTD_A) || defined(FEATURE_HARDWARE_CHESTER_RTD_B)
	struct app_data_rtd_therm rtd_therm;
#endif /* defined(FEATURE_HARDWARE_CHESTER_RTD_A) || defined(FEATURE_HARDWARE_CHESTER_RTD_B) */

#if defined(FEATURE_HARDWARE_CHESTER_TC_A) || defined(FEATURE_HARDWARE_CHESTER_TC_B)
	struct app_data_tc_therm tc_therm;
#endif /* defined(FEATURE_HARDWARE_CHESTER_TC_A) || defined(FEATURE_HARDWARE_CHESTER_TC_B) */

#if defined(FEATURE_SUBSYSTEM_SOIL_SENSOR)
	struct app_data_soil_sensor soil_sensor;
#endif /* defined(FEATURE_SUBSYSTEM_SOIL_SENSOR) */

#if defined(FEATURE_HARDWARE_CHESTER_SPS30)
	struct app_data_sps30 sps30;
#endif /* defined(FEATURE_HARDWARE_CHESTER_SPS30) */

#if defined(FEATURE_SUBSYSTEM_BLE_TAG)
	struct app_data_ble_tag ble_tag;
#endif /* defined(FEATURE_SUBSYSTEM_BLE_TAG) */

#if defined(FEATURE_SUBSYSTEM_RADON)
	struct app_data_radon radon;
#endif /* defined(FEATURE_SUBSYSTEM_RADON) */
};

extern struct app_data g_app_data;

int app_data_init(void);
void app_data_lock(void);
void app_data_unlock(void);

#ifdef __cplusplus
}
#endif

#endif /* APP_DATA_H_ */
```

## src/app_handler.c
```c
/*
 * Copyright (c) 2023 HARDWARIO a.s.
 *
 * SPDX-License-Identifier: LicenseRef-HARDWARIO-5-Clause
 */

#include "app_config.h"
#include "app_data.h"
#include "app_handler.h"
#include "app_init.h"
#include "app_send.h"
#include "app_sensor.h"
#include "app_work.h"

/* CHESTER includes */
#include <chester/ctr_buf.h>
#include <chester/ctr_button.h>
#include <chester/ctr_cloud.h>
#include <chester/ctr_led.h>
#include <chester/ctr_lrw.h>
#include <chester/ctr_power.h>
#include <chester/ctr_rtc.h>
#include <chester/drivers/ctr_x4.h>

/* Zephyr includes */
#include <zephyr/kernel.h>
#include <zephyr/logging/log.h>
#include <zephyr/sys/reboot.h>

#include <zcbor_common.h>
#include <zcbor_decode.h>
#include <zcbor_encode.h>

/* Standard includes */
#include <math.h>
#include <stdbool.h>
#include <stddef.h>

LOG_MODULE_REGISTER(app_handler, LOG_LEVEL_DBG);

void app_handler_lrw(enum ctr_lrw_event event, union ctr_lrw_event_data *data, void *param)
{
	int ret;

	switch (event) {
	case CTR_LRW_EVENT_FAILURE:
		LOG_INF("Event `CTR_LRW_EVENT_FAILURE`");
		ret = ctr_lrw_start(NULL);
		if (ret) {
			LOG_ERR("Call `ctr_lrw_start` failed: %d", ret);
		}
		break;
	case CTR_LRW_EVENT_START_OK:
		LOG_INF("Event `CTR_LRW_EVENT_START_OK`");
		ret = ctr_lrw_join(NULL);
		if (ret) {
			LOG_ERR("Call `ctr_lrw_join` failed: %d", ret);
		}
		break;
	case CTR_LRW_EVENT_START_ERR:
		LOG_INF("Event `CTR_LRW_EVENT_START_ERR`");
		break;
	case CTR_LRW_EVENT_JOIN_OK:
		LOG_INF("Event `CTR_LRW_EVENT_JOIN_OK`");
		break;
	case CTR_LRW_EVENT_JOIN_ERR:
		LOG_INF("Event `CTR_LRW_EVENT_JOIN_ERR`");
		break;
	case CTR_LRW_EVENT_SEND_OK:
		LOG_INF("Event `CTR_LRW_EVENT_SEND_OK`");
		break;
	case CTR_LRW_EVENT_SEND_ERR:
		LOG_INF("Event `CTR_LRW_EVENT_SEND_ERR`");
		break;
	default:
		LOG_WRN("Unknown event: %d", event);
	}
}

#if defined(FEATURE_SUBSYSTEM_POWER)
void app_handler_power_event(const struct ctr_power_event *event, void *user_data)
{
	LOG_INF("Power line: %d", (int)event->line);

	/*
	 * `ctr_power` already filters on `report-connected`/`report-disconnected` before
	 * invoking this callback, so no further gating is needed here.
	 */
	app_work_send_with_rate_limit();
}
#endif /* defined(FEATURE_SUBSYSTEM_POWER) */

#if defined(FEATURE_HARDWARE_CHESTER_S1)
void ctr_s1_event_handler(const struct device *dev, enum ctr_s1_event event, void *user_data)
{
	int ret;

	switch (event) {
	case CTR_S1_EVENT_DEVICE_RESET:
		LOG_INF("Event `CTR_S1_EVENT_DEVICE_RESET`");

		ret = ctr_s1_apply(dev);
		if (ret) {
			LOG_ERR("Call `ctr_s1_apply` failed: %d", ret);
			k_oops();
		}

		ret = ctr_s1_set_motion_sensitivity(dev, CTR_S1_PIR_SENSITIVITY_MEDIUM);
		if (ret) {
			LOG_ERR("Call `ctr_s1_set_motion_sensitivity` failed: %d", ret);
			k_oops();
		}

		break;

	case CTR_S1_EVENT_BUTTON_PRESSED:
		LOG_INF("Event `CTR_S1_EVENT_BUTTON_PRESSED`");

		atomic_inc(&g_app_data.iaq.button.press_count);

		struct ctr_s1_led_param param_led = {
			.brightness = CTR_S1_LED_BRIGHTNESS_HIGH,
			.command = CTR_S1_LED_COMMAND_1X_1_1,
			.pattern = CTR_S1_LED_PATTERN_OFF,
		};

		ret = ctr_s1_set_led(dev, CTR_S1_LED_CHANNEL_B, &param_led);
		if (ret) {
			LOG_ERR("Call `ctr_s1_set_led` failed: %d", ret);
			k_oops();
		}

		struct ctr_s1_buzzer_param param_buzzer = {
			.command = CTR_S1_BUZZER_COMMAND_1X_1_1,
			.pattern = CTR_S1_BUZZER_PATTERN_OFF,
		};

		ret = ctr_s1_set_buzzer(dev, &param_buzzer);
		if (ret) {
			LOG_ERR("Call `ctr_s1_set_buzzer` failed: %d", ret);
			k_oops();
		}

		ret = ctr_s1_apply(dev);
		if (ret) {
			LOG_ERR("Call `ctr_s1_apply` failed: %d", ret);
			k_oops();
		}

		app_sensor_iaq_button_aggreg();

		app_work_send();

		break;

	case CTR_S1_EVENT_BUTTON_CLICKED:
		LOG_INF("Event `CTR_S1_EVENT_BUTTON_CLICKED`");
		break;

	case CTR_S1_EVENT_BUTTON_HOLD:
		LOG_INF("Event `CTR_S1_EVENT_BUTTON_HOLD`");
		break;

	case CTR_S1_EVENT_BUTTON_RELEASED:
		LOG_INF("Event `CTR_S1_EVENT_BUTTON_RELEASED`");
		break;

	case CTR_S1_EVENT_MOTION_DETECTED:
		LOG_INF("Event `CTR_S1_EVENT_MOTION_DETECTED`");

		atomic_inc(&g_app_data.iaq.sensors.motion_count);

		int motion_count;
		ret = ctr_s1_read_motion_count(dev, &motion_count);
		if (ret) {
			LOG_ERR("Call `ctr_s1_read_motion_count` failed: %d", ret);
			k_oops();
		}

		LOG_INF("Motion count: %d", motion_count);

		break;

	default:
		break;
	}
}
#endif /* defined(FEATURE_HARDWARE_CHESTER_S1) */

#if defined(FEATURE_SUBSYSTEM_BUTTON)

static void app_load_timer_handler(struct k_timer *timer)
{
	ctr_led_set(CTR_LED_CHANNEL_LOAD, 0);
}

K_TIMER_DEFINE(app_load_timer, app_load_timer_handler, NULL);

void app_handler_ctr_button(enum ctr_button_channel chan, enum ctr_button_event ev, int val,
			    void *user_data)
{
	int ret;

	if (chan != CTR_BUTTON_CHANNEL_INT) {
		return;
	}

	if (ev == CTR_BUTTON_EVENT_CLICK) {
		for (int i = 0; i < val; i++) {
			ret = ctr_led_set(CTR_LED_CHANNEL_Y, true);
			if (ret) {
				LOG_ERR("Call `ctr_led_set` failed: %d", ret);
				return;
			}

			k_sleep(K_MSEC(50));
			ret = ctr_led_set(CTR_LED_CHANNEL_Y, false);
			if (ret) {
				LOG_ERR("Call `ctr_led_set` failed: %d", ret);
				return;
			}

			k_sleep(K_MSEC(200));
		}

		switch (val) {
		case 1:
			app_work_send();
			break;
		case 2:
			app_work_sample();
			break;
		case 3:
			app_work_sample();
			app_work_aggreg();
			app_work_send();
			break;
		case 4:
			sys_reboot(SYS_REBOOT_COLD);
			break;
		case 5:
			ret = ctr_led_set(CTR_LED_CHANNEL_LOAD, 1);
			if (ret) {
				LOG_ERR("Call `ctr_led_set` failed: %d", ret);
				return;
			}
			k_timer_start(&app_load_timer, K_MINUTES(2), K_FOREVER);
			break;
		}
	}
}

#endif /* defined(FEATURE_SUBSYSTEM_BUTTON) */

#if defined(FEATURE_HARDWARE_CHESTER_X4_A) || defined(FEATURE_HARDWARE_CHESTER_X4_B)

void app_handler_ctr_x4(const struct device *dev, enum ctr_x4_event event, void *user_data)
{
	switch (event) {
	case CTR_X4_EVENT_LINE_CONNECTED:
		LOG_INF("Line connected");
		break;
	case CTR_X4_EVENT_LINE_DISCONNECTED:
		LOG_INF("Line disconnected");
		break;
	default:
		LOG_ERR("Unknown event: %d", event);
		k_oops();
	}

	int ret = app_send_lrw_x4_line_alert(event == CTR_X4_EVENT_LINE_CONNECTED ? BIT(0) : 0);
	if (ret) {
		LOG_ERR("Call `app_send_lrw_x4_line_alert` failed: %d", ret);
		return;
	}
}

#endif /* defined(FEATURE_HARDWARE_CHESTER_X4_A) || defined(FEATURE_HARDWARE_CHESTER_X4_B)*/
```

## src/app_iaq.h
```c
/*
 * Copyright (c) 2023 HARDWARIO a.s.
 *
 * SPDX-License-Identifier: LicenseRef-HARDWARIO-5-Clause
 */

#ifndef APP_IAQ_H_
#define APP_IAQ_H_

/* Zephyr includes */
#include <zephyr/kernel.h>

#ifdef __cplusplus
extern "C" {
#endif

extern struct k_sem g_app_init_sem;

int app_iaq_led_task(void);

#ifdef __cplusplus
}
#endif

#endif /* APP_IAQ_H_ */
```
